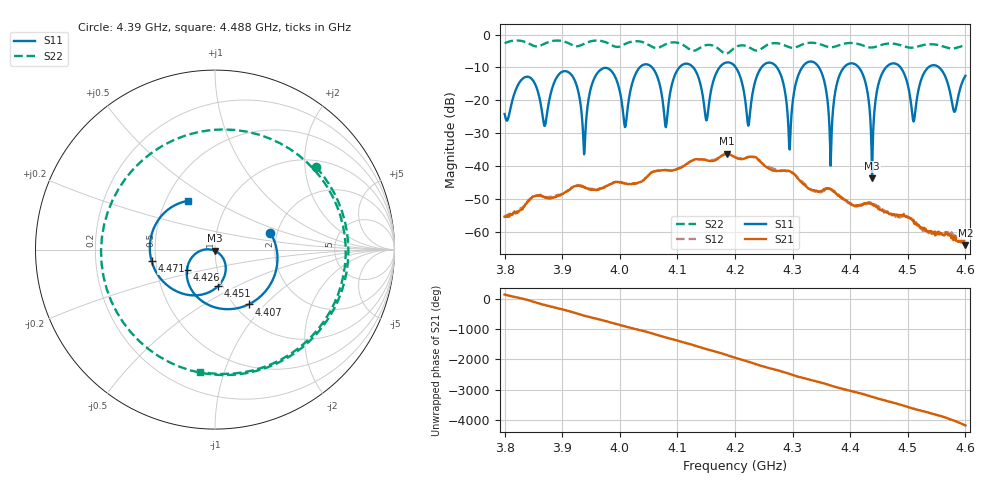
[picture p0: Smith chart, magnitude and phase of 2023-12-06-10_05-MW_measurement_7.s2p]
!Created with skrf (http://scikit-rf.org).
# Hz S RI R 50.0
!freq ReS11 ImS11 ReS21 ImS21 ReS12 ImS12 ReS22 ImS22
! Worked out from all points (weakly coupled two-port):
!   801 points, 3.8 GHz to 4.6 GHz, reference 50 ohm
!   highest |S21| = -36.27 dB at 4.186 GHz (marker M1); lowest = -64.1 dB at 4.6 GHz (marker M2)
!   lowest |S11| = -43.7 dB at 4.438 GHz (marker M3), VSWR 1.01, Z = 49.8 - j0.615 ohm
!   |S11| at or under -10 dB: start of sweep to 4.035 GHz; 4.415 GHz to 4.462 GHz (47.38 MHz wide, 1.07 % of centre); 4.487 GHz to 4.536 GHz (48.36 MHz wide, 1.07 % of centre) (the widest 3 of 9)
!   |S22| runs from -5.8 to -1.8 dB; largest |S21 - S12| = 0.0017
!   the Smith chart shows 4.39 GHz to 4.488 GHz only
!   S11 on the Smith chart (normalised r, x): 4.39 GHz: 1.84, +0.38; 4.407 GHz: 1.16, -0.81; 4.426 GHz: 0.71, -0.17; 4.451 GHz: 0.96, -0.40; 4.471 GHz: 0.47, -0.07; 4.488 GHz: 0.64, +0.39
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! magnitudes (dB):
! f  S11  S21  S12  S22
! 3.8 GHz  -24.2  -55.5  -55.1  -2.6
! 3.905 GHz  -11.2  -48.1  -47.9  -2.2
! 3.934 GHz  -24.5  -46.1  -46.1  -3.2
! 4.067 GHz  -13.8  -41.3  -41.5  -4.0
! 4.151 GHz  -26.0  -38.3  -38.2  -3.2
! 4.186 GHz  -8.5  -36.3  -36.5  -5.8
! 4.2 GHz  -9.7  -37.3  -37.3  -4.0
! 4.223 GHz  -27.8  -37.3  -37.2  -3.8
! 4.27 GHz  -9.4  -41.5  -40.9  -2.6
! 4.295 GHz  -35.0  -41.6  -41.8  -3.9
! 4.334 GHz  -8.3  -47.4  -47.5  -2.5
! 4.366 GHz  -39.9  -47.1  -47.1  -3.9
! 4.39 GHz  -9.9  -50.3  -50.1  -2.8
! 4.407 GHz  -8.9  -52.1  -52.0  -2.6
! 4.426 GHz  -14.3  -51.3  -51.4  -3.6
! 4.438 GHz  -43.7  -51.7  -51.6  -4.0
! 4.451 GHz  -13.9  -53.2  -52.6  -3.3
! 4.467 GHz  -9.3  -54.5  -54.3  -2.7
! 4.471 GHz  -8.9  -54.5  -54.6  -2.7
! 4.488 GHz  -10.1  -54.9  -55.5  -3.3
! 4.51 GHz  -26.5  -56.4  -56.7  -4.0
! 4.6 GHz  -12.6  -64.1  -64.4  -3.2
